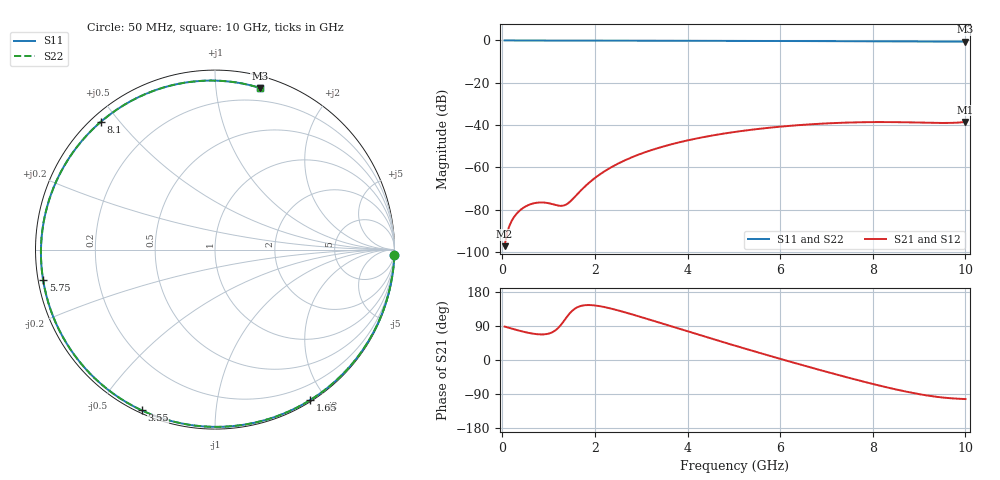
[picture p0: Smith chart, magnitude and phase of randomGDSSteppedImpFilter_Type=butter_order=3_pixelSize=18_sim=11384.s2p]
! freq	dB(S11)	phase(S11)	dB(S12)	phase(S12)
!  dB(S21)	phase(S21)	dB(S22)	phase(S22)
!S-par simulation data
#  GHz  S  DB  R 50
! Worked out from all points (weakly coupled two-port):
!   200 points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, 50 MHz to 10 GHz, reference 50 ohm
!   highest |S21| = -38.55 dB at 10 GHz (marker M1); lowest = -97.3 dB at 50 MHz (marker M2)
!   lowest |S11| = -0.6 dB at 10 GHz (marker M3), VSWR 29.64, Z = 4.6 + j65.6 ohm
!   |S11| at or under -10 dB: nowhere
!   |S22| runs from -0.6 to 0.0 dB; largest |S21 - S12| = 0
!   S11 on the Smith chart (normalised r, x): 50 MHz: 0, -63; 1.65 GHz: 0.02, -1.81; 3.55 GHz: 0.01, -0.64; 5.75 GHz: 0.01, -0.09; 8.1 GHz: 0.03, +0.45; 10 GHz: 0.09, +1.31
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0.05  -0.00 -1.8  -97.33 88.2  -97.33 88.2  -0.00 -1.8
0.4  -0.02 -14.4  -80.04 76.4  -80.04 76.4  -0.02 -14.4
0.6  -0.03 -21.6  -77.57 70.8  -77.57 70.8  -0.03 -21.6
0.8  -0.04 -28.7  -76.67 67.7  -76.67 67.7  -0.04 -28.7
1.3  -0.06 -46.0  -78.22 97.9  -78.22 97.9  -0.06 -46.0
1.45  -0.06 -51.1  -76.52 122.3  -76.52 122.3  -0.06 -51.1
1.65  -0.07 -57.7  -72.05 140.8  -72.05 140.8  -0.07 -57.7
1.75  -0.08 -61.0  -69.82 144.0  -69.82 144.0  -0.08 -61.0
2.05  -0.09 -70.6  -64.25 143.1  -64.25 143.1  -0.09 -70.6
2.45  -0.10 -83.0  -58.84 132.5  -58.84 132.5  -0.10 -83.0
2.9  -0.12 -96.3  -54.38 116.9  -54.38 116.9  -0.12 -96.3
3.4  -0.13 -110.4  -50.66 98.3  -50.66 98.3  -0.13 -110.4
3.55  -0.14 -114.5  -49.72 92.6  -49.72 92.6  -0.14 -114.5
4.3  -0.17 -134.2  -45.92 64.5  -45.92 64.5  -0.17 -134.2
5.05  -0.20 -152.9  -43.19 36.9  -43.19 36.9  -0.20 -152.9
5.75  -0.24 -169.8  -41.33 11.9  -41.33 11.9  -0.24 -169.8
6.7  -0.30 167.3  -39.61 -21.0  -39.61 -21.0  -0.30 167.3
7.4  -0.35 149.9  -38.89 -44.3  -38.89 -44.3  -0.35 150.0
8.1  -0.40 131.8  -38.61 -66.2  -38.61 -66.2  -0.40 131.8
8.35  -0.42 125.1  -38.62 -73.5  -38.62 -73.5  -0.42 125.1
9.25  -0.49 99.0  -38.97 -95.0  -38.97 -95.0  -0.49 99.1
10  -0.59 74.5  -38.55 -103.1  -38.55 -103.1  -0.59 74.6
